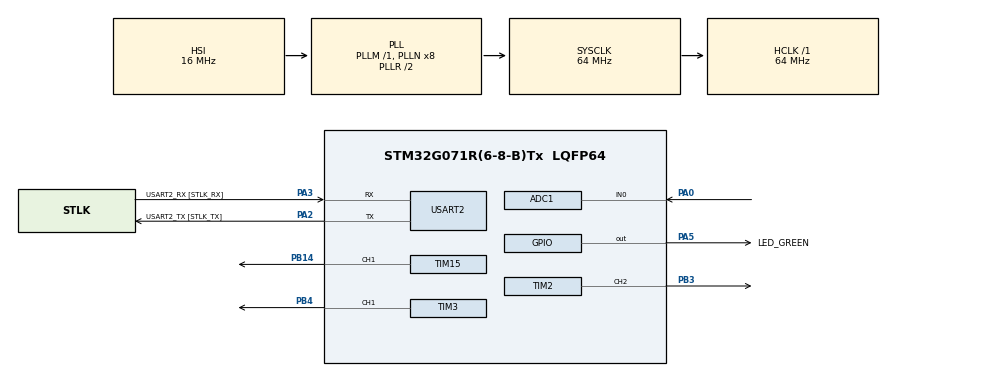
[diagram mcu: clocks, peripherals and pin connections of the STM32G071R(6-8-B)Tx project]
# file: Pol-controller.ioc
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ADC1.Channel-0\#ChannelRegularConversion=ADC_CHANNEL_0
ADC1.NbrOfConversionFlag=1
ADC1.Rank-0\#ChannelRegularConversion=1
ADC1.SamplingTime-0\#ChannelRegularConversion=ADC_SAMPLINGTIME_COMMON_1
ADC1.SelectedChannel=ADC_CHANNEL_0
ADC1.master=1
Mcu.Family=STM32G0
Mcu.Name=STM32G071R(6-8-B)Tx
Mcu.Package=LQFP64
PA0.Mode=IN0
PA0.Signal=ADC1_IN0
PA13.GPIO_Label=TMS
PA13.Signal=SYS_SWDIO
PA14-BOOT0.GPIO_Label=TCK
PA14-BOOT0.Signal=SYS_SWCLK
PA2.GPIO_Label=USART2_TX [STLK_TX]
PA2.Mode=Asynchronous
PA2.Signal=USART2_TX
PA3.GPIO_Label=USART2_RX [STLK_RX]
PA3.Mode=Asynchronous
PA3.Signal=USART2_RX
PA5.GPIO_Label=LED_GREEN
PA5.GPIO_Speed=GPIO_SPEED_FREQ_HIGH
PA5.Signal=GPIO_Output
PB14.Signal=S_TIM15_CH1
PB3.Signal=S_TIM2_CH2
PB4.Signal=S_TIM3_CH1
PC13.Signal=SYS_WKUP2
PC14-OSC32_IN\ (PC14).Signal=RCC_OSC32_IN
PC15-OSC32_OUT\ (PC15).Signal=RCC_OSC32_OUT
PF0-OSC_IN\ (PF0).GPIO_Label=MCO
PF0-OSC_IN\ (PF0).Signal=RCC_OSC_IN
ProjectManager.HeapSize=0x200
ProjectManager.StackSize=0x400
ProjectManager.TargetToolchain=STM32CubeIDE
RCC.ADCFreq_Value=64000000
RCC.AHBFreq_Value=64000000
RCC.CortexFreq_Value=64000000
RCC.EXTERNAL_CLOCK_VALUE=12288000
RCC.HCLKFreq_Value=64000000
RCC.HSE_VALUE=8000000
RCC.HSI_VALUE=16000000
RCC.LSE_VALUE=32768
RCC.SYSCLKFreq_VALUE=64000000
RCC.SYSCLKSource=RCC_SYSCLKSOURCE_PLLCLK
RCC.VCOOutputFreq_Value=128000000
SH.S_TIM15_CH1.0=TIM15_CH1,PWM Generation1 CH1
SH.S_TIM2_CH2.0=TIM2_CH2,PWM Generation2 CH2
SH.S_TIM3_CH1.0=TIM3_CH1,PWM Generation1 CH1
TIM15.Channel-PWM\ Generation1\ CH1=TIM_CHANNEL_1
TIM15.Period=19999
TIM15.Prescaler=63
TIM2.Channel-PWM\ Generation2\ CH2=TIM_CHANNEL_2
TIM2.Period=19999
TIM2.Prescaler=63
TIM3.Channel-PWM\ Generation1\ CH1=TIM_CHANNEL_1
TIM3.Period=19999
TIM3.Prescaler=63
USART2.VirtualMode-Asynchronous=VM_ASYNC
board=NUCLEO-G071RB

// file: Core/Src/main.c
/* USER CODE BEGIN Header */
/**
  ******************************************************************************
  * @file           : main.c
  * @brief          : Main program body
  ******************************************************************************
  * @attention
  *
  * Copyright (c) 2025 STMicroelectronics.
  * All rights reserved.
  *
  * This software is licensed under terms that can be found in the LICENSE file
  * in the root directory of this software component.
  * If no LICENSE file comes with this software, it is provided AS-IS.
  *
  ******************************************************************************
  */
/* USER CODE END Header */
#include "main.h"

ADC_HandleTypeDef hadc1;

TIM_HandleTypeDef htim2;
TIM_HandleTypeDef htim3;
TIM_HandleTypeDef htim15;

UART_HandleTypeDef huart2;

void SystemClock_Config(void);
static void MX_GPIO_Init(void);
static void MX_ADC1_Init(void);
static void MX_TIM2_Init(void);
static void MX_TIM3_Init(void);
static void MX_USART2_UART_Init(void);
static void MX_TIM15_Init(void);
/* USER CODE BEGIN PFP */
void Reset_PWM(TIM_HandleTypeDef *htim, uint32_t channel);
void Sweep_PWM(TIM_HandleTypeDef *htim, uint32_t channel);
uint32_t Read_ADC(void);
uint8_t data[50] = {0};
TIM_HandleTypeDef *htim_array[3] = {&htim15, &htim3, &htim2};
uint32_t pwm_channels[3] = {TIM_CHANNEL_1, TIM_CHANNEL_1, TIM_CHANNEL_2};
/* USER CODE END PFP */

/* USER CODE BEGIN 0 */
uint32_t Read_ADC(void) {
    HAL_ADC_Start(&hadc1);
    HAL_ADC_PollForConversion(&hadc1, HAL_MAX_DELAY);
    return HAL_ADC_GetValue(&hadc1);
}
void Reset_PWM(TIM_HandleTypeDef *htim, uint32_t channel) {
}

//sweep pwm values of the MPC
void Sweep_PWM(TIM_HandleTypeDef *htim, uint32_t channel) {
  //delay to wait for mpc to go to start
	HAL_Delay(1000);
	uint32_t best_pwm_value = 0;
	uint32_t min_adc_value = 0xFFFFFFFF;
	uint32_t adc_val = Read_ADC();
    //loop over all posible duty cycles
    for (uint16_t duty = 900; duty <= 2100; duty += 10) {
    	__HAL_TIM_SET_COMPARE(htim, channel, duty);
      HAL_Delay(5);
      //average 5 adc values
    	uint32_t adc_val = 0;
      for(uint16_t i= 0; i<5;i++){
        adc_val += Read_ADC();
        HAL_Delay(2);
      }
      //sprintf(data, "adc:%d, pwm:%d \r\n",adc_val, duty);
      //HAL_UART_Transmit(&huart2, data, strlen(data), 100);
      //save best value
      if (adc_val < min_adc_value) {
        	min_adc_value = adc_val;
        	best_pwm_value = duty;
      }

    }
    //sprintf(data, "best adc:%d, pwm:%d \r\n",min_adc_value, best_pwm_value );
    //HAL_UART_Transmit(&huart2, data, strlen(data), 100);
    //set pwm of paddle to best
    __HAL_TIM_SET_COMPARE(htim, channel, best_pwm_value);
    HAL_Delay(1000);
}
/* USER CODE END 0 */

int main(void)
{

  /* MCU Configuration--------------------------------------------------------*/

  /* Reset of all peripherals, Initializes the Flash interface and the Systick. */
  HAL_Init();

  /* Configure the system clock */
  SystemClock_Config();

  /* Initialize all configured peripherals */
  MX_GPIO_Init();
  MX_ADC1_Init();
  MX_TIM2_Init();
  MX_TIM3_Init();
  MX_USART2_UART_Init();
  MX_TIM15_Init();
  /* USER CODE BEGIN 2 */
  HAL_TIM_PWM_Start(&htim15, TIM_CHANNEL_1);
  HAL_TIM_PWM_Start(&htim2, TIM_CHANNEL_2);
  HAL_TIM_PWM_Start(&htim3, TIM_CHANNEL_1);
  //reset pwm to 0
	for (uint8_t i = 0; i < 3; i++) {
		__HAL_TIM_SET_COMPARE(htim_array[i],pwm_channels[i],900);
	  }
	HAL_Delay(1000);
  //sweep all 3 paddles
	for (uint8_t i = 0; i < 3; i++) {
	     Sweep_PWM(htim_array[i],pwm_channels[i]);

	  }
  /* USER CODE END 2 */

  /* Infinite loop */
  /* USER CODE BEGIN WHILE */
  while (1)
  {
	  HAL_GPIO_TogglePin(GPIOA, GPIO_PIN_5);  // Change GPIO port/pin as needed
	  HAL_Delay(500);
      sprintf(data, "loop\r\n");
     HAL_UART_Transmit(&huart2, data, strlen(data), 100);
     __HAL_TIM_SET_COMPARE(&htim2, TIM_CHANNEL_2, 100);
    /* USER CODE END WHILE */

  }
}

void SystemClock_Config(void)
{
  RCC_OscInitTypeDef RCC_OscInitStruct = {0};
  RCC_ClkInitTypeDef RCC_ClkInitStruct = {0};

  /** Configure the main internal regulator output voltage
  */
  HAL_PWREx_ControlVoltageScaling(PWR_REGULATOR_VOLTAGE_SCALE1);

  /** Initializes the RCC Oscillators according to the specified parameters
  * in the RCC_OscInitTypeDef structure.
  */
  RCC_OscInitStruct.OscillatorType = RCC_OSCILLATORTYPE_HSI;
  RCC_OscInitStruct.HSIState = RCC_HSI_ON;
  RCC_OscInitStruct.HSIDiv = RCC_HSI_DIV1;
  RCC_OscInitStruct.HSICalibrationValue = RCC_HSICALIBRATION_DEFAULT;
  RCC_OscInitStruct.PLL.PLLState = RCC_PLL_ON;
  RCC_OscInitStruct.PLL.PLLSource = RCC_PLLSOURCE_HSI;
  RCC_OscInitStruct.PLL.PLLM = RCC_PLLM_DIV1;
  RCC_OscInitStruct.PLL.PLLN = 8;
  RCC_OscInitStruct.PLL.PLLP = RCC_PLLP_DIV2;
  RCC_OscInitStruct.PLL.PLLQ = RCC_PLLQ_DIV2;
  RCC_OscInitStruct.PLL.PLLR = RCC_PLLR_DIV2;
  if (HAL_RCC_OscConfig(&RCC_OscInitStruct) != HAL_OK)
  {
    Error_Handler();
  }

  /** Initializes the CPU, AHB and APB buses clocks
  */
  RCC_ClkInitStruct.ClockType = RCC_CLOCKTYPE_HCLK|RCC_CLOCKTYPE_SYSCLK
                              |RCC_CLOCKTYPE_PCLK1;
  RCC_ClkInitStruct.SYSCLKSource = RCC_SYSCLKSOURCE_PLLCLK;
  RCC_ClkInitStruct.AHBCLKDivider = RCC_SYSCLK_DIV1;
  RCC_ClkInitStruct.APB1CLKDivider = RCC_HCLK_DIV1;

  if (HAL_RCC_ClockConfig(&RCC_ClkInitStruct, FLASH_LATENCY_2) != HAL_OK)
  {
    Error_Handler();
  }
}

static void MX_ADC1_Init(void)
{

  ADC_ChannelConfTypeDef sConfig = {0};

  /** Configure the global features of the ADC (Clock, Resolution, Data Alignment and number of conversion)
  */
  hadc1.Instance = ADC1;
  hadc1.Init.ClockPrescaler = ADC_CLOCK_SYNC_PCLK_DIV2;
  hadc1.Init.Resolution = ADC_RESOLUTION_12B;
  hadc1.Init.DataAlign = ADC_DATAALIGN_RIGHT;
  hadc1.Init.ScanConvMode = ADC_SCAN_DISABLE;
  hadc1.Init.EOCSelection = ADC_EOC_SINGLE_CONV;
  hadc1.Init.LowPowerAutoWait = DISABLE;
  hadc1.Init.LowPowerAutoPowerOff = DISABLE;
  hadc1.Init.ContinuousConvMode = DISABLE;
  hadc1.Init.NbrOfConversion = 1;
  hadc1.Init.DiscontinuousConvMode = DISABLE;
  hadc1.Init.ExternalTrigConv = ADC_SOFTWARE_START;
  hadc1.Init.ExternalTrigConvEdge = ADC_EXTERNALTRIGCONVEDGE_NONE;
  hadc1.Init.DMAContinuousRequests = DISABLE;
  hadc1.Init.Overrun = ADC_OVR_DATA_PRESERVED;
  hadc1.Init.SamplingTimeCommon1 = ADC_SAMPLETIME_1CYCLE_5;
  hadc1.Init.SamplingTimeCommon2 = ADC_SAMPLETIME_1CYCLE_5;
  hadc1.Init.OversamplingMode = DISABLE;
  hadc1.Init.TriggerFrequencyMode = ADC_TRIGGER_FREQ_HIGH;
  if (HAL_ADC_Init(&hadc1) != HAL_OK)
  {
    Error_Handler();
  }

  /** Configure Regular Channel
  */
  sConfig.Channel = ADC_CHANNEL_0;
  sConfig.Rank = ADC_REGULAR_RANK_1;
  sConfig.SamplingTime = ADC_SAMPLINGTIME_COMMON_1;
  if (HAL_ADC_ConfigChannel(&hadc1, &sConfig) != HAL_OK)
  {
    Error_Handler();
  }

}

static void MX_TIM2_Init(void)
{

  TIM_MasterConfigTypeDef sMasterConfig = {0};
  TIM_OC_InitTypeDef sConfigOC = {0};

  htim2.Instance = TIM2;
  htim2.Init.Prescaler = 63;
  htim2.Init.CounterMode = TIM_COUNTERMODE_UP;
  htim2.Init.Period = 19999;
  htim2.Init.ClockDivision = TIM_CLOCKDIVISION_DIV1;
  htim2.Init.AutoReloadPreload = TIM_AUTORELOAD_PRELOAD_DISABLE;
  if (HAL_TIM_PWM_Init(&htim2) != HAL_OK)
  {
    Error_Handler();
  }
  sMasterConfig.MasterOutputTrigger = TIM_TRGO_RESET;
  sMasterConfig.MasterSlaveMode = TIM_MASTERSLAVEMODE_DISABLE;
  if (HAL_TIMEx_MasterConfigSynchronization(&htim2, &sMasterConfig) != HAL_OK)
  {
    Error_Handler();
  }
  sConfigOC.OCMode = TIM_OCMODE_PWM1;
  sConfigOC.Pulse = 0;
  sConfigOC.OCPolarity = TIM_OCPOLARITY_HIGH;
  sConfigOC.OCFastMode = TIM_OCFAST_DISABLE;
  if (HAL_TIM_PWM_ConfigChannel(&htim2, &sConfigOC, TIM_CHANNEL_2) != HAL_OK)
  {
    Error_Handler();
  }
  HAL_TIM_MspPostInit(&htim2);

}

static void MX_TIM3_Init(void)
{

  TIM_MasterConfigTypeDef sMasterConfig = {0};
  TIM_OC_InitTypeDef sConfigOC = {0};

  htim3.Instance = TIM3;
  htim3.Init.Prescaler = 63;
  htim3.Init.CounterMode = TIM_COUNTERMODE_UP;
  htim3.Init.Period = 19999;
  htim3.Init.ClockDivision = TIM_CLOCKDIVISION_DIV1;
  htim3.Init.AutoReloadPreload = TIM_AUTORELOAD_PRELOAD_DISABLE;
  if (HAL_TIM_PWM_Init(&htim3) != HAL_OK)
  {
    Error_Handler();
  }
  sMasterConfig.MasterOutputTrigger = TIM_TRGO_RESET;
  sMasterConfig.MasterSlaveMode = TIM_MASTERSLAVEMODE_DISABLE;
  if (HAL_TIMEx_MasterConfigSynchronization(&htim3, &sMasterConfig) != HAL_OK)
  {
    Error_Handler();
  }
  sConfigOC.OCMode = TIM_OCMODE_PWM1;
  sConfigOC.Pulse = 0;
  sConfigOC.OCPolarity = TIM_OCPOLARITY_HIGH;
  sConfigOC.OCFastMode = TIM_OCFAST_DISABLE;
  if (HAL_TIM_PWM_ConfigChannel(&htim3, &sConfigOC, TIM_CHANNEL_1) != HAL_OK)
  {
    Error_Handler();
  }
  HAL_TIM_MspPostInit(&htim3);

}

static void MX_TIM15_Init(void)
{

  TIM_MasterConfigTypeDef sMasterConfig = {0};
  TIM_OC_InitTypeDef sConfigOC = {0};
  TIM_BreakDeadTimeConfigTypeDef sBreakDeadTimeConfig = {0};

  htim15.Instance = TIM15;
  htim15.Init.Prescaler = 63;
  htim15.Init.CounterMode = TIM_COUNTERMODE_UP;
  htim15.Init.Period = 19999;
  htim15.Init.ClockDivision = TIM_CLOCKDIVISION_DIV1;
  htim15.Init.RepetitionCounter = 0;
  htim15.Init.AutoReloadPreload = TIM_AUTORELOAD_PRELOAD_DISABLE;
  if (HAL_TIM_PWM_Init(&htim15) != HAL_OK)
  {
    Error_Handler();
  }
  sMasterConfig.MasterOutputTrigger = TIM_TRGO_RESET;
  sMasterConfig.MasterSlaveMode = TIM_MASTERSLAVEMODE_DISABLE;
  if (HAL_TIMEx_MasterConfigSynchronization(&htim15, &sMasterConfig) != HAL_OK)
  {
    Error_Handler();
  }
  sConfigOC.OCMode = TIM_OCMODE_PWM1;
  sConfigOC.Pulse = 0;
  sConfigOC.OCPolarity = TIM_OCPOLARITY_HIGH;
  sConfigOC.OCNPolarity = TIM_OCNPOLARITY_HIGH;
  sConfigOC.OCFastMode = TIM_OCFAST_DISABLE;
  sConfigOC.OCIdleState = TIM_OCIDLESTATE_RESET;
  sConfigOC.OCNIdleState = TIM_OCNIDLESTATE_RESET;
  if (HAL_TIM_PWM_ConfigChannel(&htim15, &sConfigOC, TIM_CHANNEL_1) != HAL_OK)
  {
    Error_Handler();
  }
  sBreakDeadTimeConfig.OffStateRunMode = TIM_OSSR_DISABLE;
  sBreakDeadTimeConfig.OffStateIDLEMode = TIM_OSSI_DISABLE;
  sBreakDeadTimeConfig.LockLevel = TIM_LOCKLEVEL_OFF;
  sBreakDeadTimeConfig.DeadTime = 0;
  sBreakDeadTimeConfig.BreakState = TIM_BREAK_DISABLE;
  sBreakDeadTimeConfig.BreakPolarity = TIM_BREAKPOLARITY_HIGH;
  sBreakDeadTimeConfig.BreakFilter = 0;
  sBreakDeadTimeConfig.AutomaticOutput = TIM_AUTOMATICOUTPUT_DISABLE;
  if (HAL_TIMEx_ConfigBreakDeadTime(&htim15, &sBreakDeadTimeConfig) != HAL_OK)
  {
    Error_Handler();
  }
  HAL_TIM_MspPostInit(&htim15);

}

static void MX_USART2_UART_Init(void)
{

  huart2.Instance = USART2;
  huart2.Init.BaudRate = 115200;
  huart2.Init.WordLength = UART_WORDLENGTH_8B;
  huart2.Init.StopBits = UART_STOPBITS_1;
  huart2.Init.Parity = UART_PARITY_NONE;
  huart2.Init.Mode = UART_MODE_TX_RX;
  huart2.Init.HwFlowCtl = UART_HWCONTROL_NONE;
  huart2.Init.OverSampling = UART_OVERSAMPLING_16;
  huart2.Init.OneBitSampling = UART_ONE_BIT_SAMPLE_DISABLE;
  huart2.Init.ClockPrescaler = UART_PRESCALER_DIV1;
  huart2.AdvancedInit.AdvFeatureInit = UART_ADVFEATURE_NO_INIT;
  if (HAL_UART_Init(&huart2) != HAL_OK)
  {
    Error_Handler();
  }
  if (HAL_UARTEx_SetTxFifoThreshold(&huart2, UART_TXFIFO_THRESHOLD_1_8) != HAL_OK)
  {
    Error_Handler();
  }
  if (HAL_UARTEx_SetRxFifoThreshold(&huart2, UART_RXFIFO_THRESHOLD_1_8) != HAL_OK)
  {
    Error_Handler();
  }
  if (HAL_UARTEx_DisableFifoMode(&huart2) != HAL_OK)
  {
    Error_Handler();
  }

}

static void MX_GPIO_Init(void)
{
  GPIO_InitTypeDef GPIO_InitStruct = {0};

  /* GPIO Ports Clock Enable */
  __HAL_RCC_GPIOC_CLK_ENABLE();
  __HAL_RCC_GPIOF_CLK_ENABLE();
  __HAL_RCC_GPIOA_CLK_ENABLE();
  __HAL_RCC_GPIOB_CLK_ENABLE();

  /*Configure GPIO pin Output Level */
  HAL_GPIO_WritePin(LED_GREEN_GPIO_Port, LED_GREEN_Pin, GPIO_PIN_RESET);

  /*Configure GPIO pin : LED_GREEN_Pin */
  GPIO_InitStruct.Pin = LED_GREEN_Pin;
  GPIO_InitStruct.Mode = GPIO_MODE_OUTPUT_PP;
  GPIO_InitStruct.Pull = GPIO_NOPULL;
  GPIO_InitStruct.Speed = GPIO_SPEED_FREQ_HIGH;
  HAL_GPIO_Init(LED_GREEN_GPIO_Port, &GPIO_InitStruct);

}

void Error_Handler(void)
{
  __disable_irq();
  while (1)
  {
  }
}
